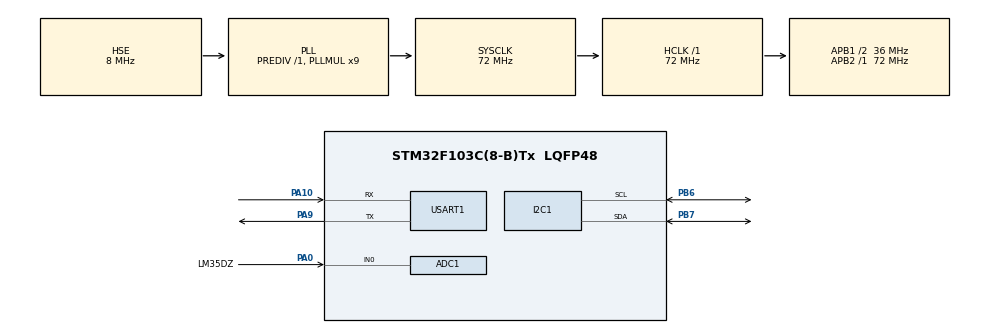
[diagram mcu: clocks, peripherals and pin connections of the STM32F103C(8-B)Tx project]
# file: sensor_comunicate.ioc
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ADC1.Channel-0\#ChannelRegularConversion=ADC_CHANNEL_0
ADC1.NbrOfConversionFlag=1
ADC1.Rank-0\#ChannelRegularConversion=1
ADC1.SamplingTime-0\#ChannelRegularConversion=ADC_SAMPLETIME_1CYCLE_5
ADC1.master=1
Mcu.Family=STM32F1
Mcu.Name=STM32F103C(8-B)Tx
Mcu.Package=LQFP48
NVIC.PriorityGroup=NVIC_PRIORITYGROUP_4
PA0-WKUP.GPIO_Label=LM35DZ
PA0-WKUP.Signal=ADCx_IN0
PA10.Mode=Asynchronous
PA10.Signal=USART1_RX
PA9.Mode=Asynchronous
PA9.Signal=USART1_TX
PB6.Mode=I2C
PB6.Signal=I2C1_SCL
PB7.Mode=I2C
PB7.Signal=I2C1_SDA
PD0-OSC_IN.Mode=HSE-External-Oscillator
PD0-OSC_IN.Signal=RCC_OSC_IN
PD1-OSC_OUT.Mode=HSE-External-Oscillator
PD1-OSC_OUT.Signal=RCC_OSC_OUT
ProjectManager.HeapSize=0x200
ProjectManager.StackSize=0x400
ProjectManager.TargetToolchain=STM32CubeIDE
RCC.ADCPresc=RCC_ADCPCLK2_DIV6
RCC.AHBFreq_Value=72000000
RCC.APB1CLKDivider=RCC_HCLK_DIV2
RCC.APB1Freq_Value=36000000
RCC.APB1TimFreq_Value=72000000
RCC.APB2Freq_Value=72000000
RCC.APB2TimFreq_Value=72000000
RCC.HCLKFreq_Value=72000000
RCC.PLLMUL=RCC_PLL_MUL9
RCC.PLLSourceVirtual=RCC_PLLSOURCE_HSE
RCC.SYSCLKFreq_VALUE=72000000
RCC.SYSCLKSource=RCC_SYSCLKSOURCE_PLLCLK
RCC.USBFreq_Value=72000000
SH.ADCx_IN0.0=ADC1_IN0,IN0
USART1.VirtualMode=VM_ASYNC
VP_SYS_VS_ND.Mode=No_Debug
board=custom

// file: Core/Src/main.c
/* USER CODE BEGIN Header */
/**
  ******************************************************************************
  * @file           : main.c
  * @brief          : Main program body
  ******************************************************************************
  * @attention
  *
  * Copyright (c) 2024 STMicroelectronics.
  * All rights reserved.
  *
  * This software is licensed under terms that can be found in the LICENSE file
  * in the root directory of this software component.
  * If no LICENSE file comes with this software, it is provided AS-IS.
  *
  ******************************************************************************
  */
/* USER CODE END Header */
#include "main.h"

/* USER CODE BEGIN Includes */
#include "string.h"
#include "stdio.h"
#include "INA219.h"
/* USER CODE END Includes */

ADC_HandleTypeDef hadc1;

I2C_HandleTypeDef hi2c1;

UART_HandleTypeDef huart1;

/* USER CODE BEGIN PV */
static uint32_t adc_data = 3;
static uint16_t vol_data = 0;
static uint16_t current_data = 0;
/* USER CODE END PV */

void SystemClock_Config(void);
static void MX_GPIO_Init(void);
static void MX_ADC1_Init(void);
static void MX_I2C1_Init(void);
static void MX_USART1_UART_Init(void);

int main(void)
{

  /* MCU Configuration--------------------------------------------------------*/

  /* Reset of all peripherals, Initializes the Flash interface and the Systick. */
  HAL_Init();

  /* Configure the system clock */
  SystemClock_Config();

  /* Initialize all configured peripherals */
  MX_GPIO_Init();
  MX_ADC1_Init();
  MX_I2C1_Init();
  MX_USART1_UART_Init();
  /* USER CODE BEGIN 2 */
  char text_data[43];
  INA219_t ina219;
  uint8_t addr = 0x40;
  while(!INA219_Init(&ina219, &hi2c1, addr))
  {
	 addr+=1;
  }
  /* USER CODE END 2 */

  /* Infinite loop */
  /* USER CODE BEGIN WHILE */
  while (1)
  {
	  HAL_ADC_Start(&hadc1);
	  HAL_ADC_PollForConversion(&hadc1, 100);
	  adc_data = HAL_ADC_GetValue(&hadc1);
	  adc_data = (adc_data * 2.5) / (0.01 * 4095);

	  current_data = INA219_ReadCurrent(&ina219);
	  vol_data = INA219_ReadBusVoltage(&ina219);
	  sprintf(text_data, "\n\rTemp: %lu\n\rV: %umV\n\rI: %umA", adc_data, vol_data, current_data);
	  HAL_UART_Transmit(&huart1, (uint8_t*)text_data, sizeof(text_data), 100);
	  HAL_Delay(500);

    /* USER CODE END WHILE */

  }
}

void SystemClock_Config(void)
{
  RCC_OscInitTypeDef RCC_OscInitStruct = {0};
  RCC_ClkInitTypeDef RCC_ClkInitStruct = {0};
  RCC_PeriphCLKInitTypeDef PeriphClkInit = {0};

  /** Initializes the RCC Oscillators according to the specified parameters
  * in the RCC_OscInitTypeDef structure.
  */
  RCC_OscInitStruct.OscillatorType = RCC_OSCILLATORTYPE_HSE;
  RCC_OscInitStruct.HSEState = RCC_HSE_ON;
  RCC_OscInitStruct.HSEPredivValue = RCC_HSE_PREDIV_DIV1;
  RCC_OscInitStruct.HSIState = RCC_HSI_ON;
  RCC_OscInitStruct.PLL.PLLState = RCC_PLL_ON;
  RCC_OscInitStruct.PLL.PLLSource = RCC_PLLSOURCE_HSE;
  RCC_OscInitStruct.PLL.PLLMUL = RCC_PLL_MUL9;
  if (HAL_RCC_OscConfig(&RCC_OscInitStruct) != HAL_OK)
  {
    Error_Handler();
  }

  /** Initializes the CPU, AHB and APB buses clocks
  */
  RCC_ClkInitStruct.ClockType = RCC_CLOCKTYPE_HCLK|RCC_CLOCKTYPE_SYSCLK
                              |RCC_CLOCKTYPE_PCLK1|RCC_CLOCKTYPE_PCLK2;
  RCC_ClkInitStruct.SYSCLKSource = RCC_SYSCLKSOURCE_PLLCLK;
  RCC_ClkInitStruct.AHBCLKDivider = RCC_SYSCLK_DIV1;
  RCC_ClkInitStruct.APB1CLKDivider = RCC_HCLK_DIV2;
  RCC_ClkInitStruct.APB2CLKDivider = RCC_HCLK_DIV1;

  if (HAL_RCC_ClockConfig(&RCC_ClkInitStruct, FLASH_LATENCY_2) != HAL_OK)
  {
    Error_Handler();
  }
  PeriphClkInit.PeriphClockSelection = RCC_PERIPHCLK_ADC;
  PeriphClkInit.AdcClockSelection = RCC_ADCPCLK2_DIV6;
  if (HAL_RCCEx_PeriphCLKConfig(&PeriphClkInit) != HAL_OK)
  {
    Error_Handler();
  }
}

static void MX_ADC1_Init(void)
{

  ADC_ChannelConfTypeDef sConfig = {0};

  /** Common config
  */
  hadc1.Instance = ADC1;
  hadc1.Init.ScanConvMode = ADC_SCAN_DISABLE;
  hadc1.Init.ContinuousConvMode = DISABLE;
  hadc1.Init.DiscontinuousConvMode = DISABLE;
  hadc1.Init.ExternalTrigConv = ADC_SOFTWARE_START;
  hadc1.Init.DataAlign = ADC_DATAALIGN_RIGHT;
  hadc1.Init.NbrOfConversion = 1;
  if (HAL_ADC_Init(&hadc1) != HAL_OK)
  {
    Error_Handler();
  }

  /** Configure Regular Channel
  */
  sConfig.Channel = ADC_CHANNEL_0;
  sConfig.Rank = ADC_REGULAR_RANK_1;
  sConfig.SamplingTime = ADC_SAMPLETIME_1CYCLE_5;
  if (HAL_ADC_ConfigChannel(&hadc1, &sConfig) != HAL_OK)
  {
    Error_Handler();
  }

}

static void MX_I2C1_Init(void)
{

  hi2c1.Instance = I2C1;
  hi2c1.Init.ClockSpeed = 100000;
  hi2c1.Init.DutyCycle = I2C_DUTYCYCLE_2;
  hi2c1.Init.OwnAddress1 = 0;
  hi2c1.Init.AddressingMode = I2C_ADDRESSINGMODE_7BIT;
  hi2c1.Init.DualAddressMode = I2C_DUALADDRESS_DISABLE;
  hi2c1.Init.OwnAddress2 = 0;
  hi2c1.Init.GeneralCallMode = I2C_GENERALCALL_DISABLE;
  hi2c1.Init.NoStretchMode = I2C_NOSTRETCH_DISABLE;
  if (HAL_I2C_Init(&hi2c1) != HAL_OK)
  {
    Error_Handler();
  }

}

static void MX_USART1_UART_Init(void)
{

  huart1.Instance = USART1;
  huart1.Init.BaudRate = 115200;
  huart1.Init.WordLength = UART_WORDLENGTH_8B;
  huart1.Init.StopBits = UART_STOPBITS_1;
  huart1.Init.Parity = UART_PARITY_NONE;
  huart1.Init.Mode = UART_MODE_TX_RX;
  huart1.Init.HwFlowCtl = UART_HWCONTROL_NONE;
  huart1.Init.OverSampling = UART_OVERSAMPLING_16;
  if (HAL_UART_Init(&huart1) != HAL_OK)
  {
    Error_Handler();
  }

}

static void MX_GPIO_Init(void)
{

  /* GPIO Ports Clock Enable */
  __HAL_RCC_GPIOD_CLK_ENABLE();
  __HAL_RCC_GPIOA_CLK_ENABLE();
  __HAL_RCC_GPIOB_CLK_ENABLE();

}

void Error_Handler(void)
{
  __disable_irq();
  while (1)
  {
  }
}
